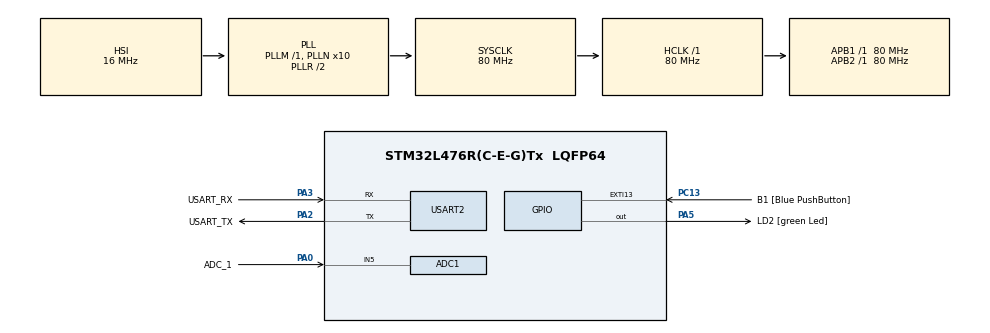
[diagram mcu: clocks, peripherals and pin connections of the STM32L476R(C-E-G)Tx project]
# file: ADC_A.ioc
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ADC1.Channel-1\#ChannelRegularConversion=ADC_CHANNEL_5
ADC1.ClockPrescaler=ADC_CLOCK_ASYNC_DIV8
ADC1.ContinuousConvMode=ENABLE
ADC1.NbrOfConversionFlag=1
ADC1.OffsetNumber-1\#ChannelRegularConversion=ADC_OFFSET_NONE
ADC1.Rank-1\#ChannelRegularConversion=1
ADC1.Resolution=ADC_RESOLUTION_12B
ADC1.SamplingTime-1\#ChannelRegularConversion=ADC_SAMPLETIME_2CYCLES_5
ADC1.master=1
Mcu.Family=STM32L4
Mcu.Name=STM32L476R(C-E-G)Tx
Mcu.Package=LQFP64
NVIC.ADC1_2_IRQn=true\:0\:0\:false\:false\:true\:true\:true\:true
NVIC.PriorityGroup=NVIC_PRIORITYGROUP_4
PA0.GPIO_Label=ADC_1
PA0.Signal=ADCx_IN5
PA13\ (JTMS-SWDIO).GPIO_Label=TMS
PA13\ (JTMS-SWDIO).Mode=Serial_Wire
PA13\ (JTMS-SWDIO).Signal=SYS_JTMS-SWDIO
PA14\ (JTCK-SWCLK).GPIO_Label=TCK
PA14\ (JTCK-SWCLK).Mode=Serial_Wire
PA14\ (JTCK-SWCLK).Signal=SYS_JTCK-SWCLK
PA2.GPIO_Label=USART_TX
PA2.GPIO_Mode=GPIO_MODE_AF_PP
PA2.GPIO_PuPd=GPIO_NOPULL
PA2.GPIO_Speed=GPIO_SPEED_FREQ_VERY_HIGH
PA2.Mode=Asynchronous
PA2.Signal=USART2_TX
PA3.GPIO_Label=USART_RX
PA3.GPIO_Mode=GPIO_MODE_AF_PP
PA3.GPIO_PuPd=GPIO_NOPULL
PA3.GPIO_Speed=GPIO_SPEED_FREQ_VERY_HIGH
PA3.Mode=Asynchronous
PA3.Signal=USART2_RX
PA5.GPIO_Label=LD2 [green Led]
PA5.GPIO_ModeDefaultOutputPP=GPIO_MODE_OUTPUT_PP
PA5.GPIO_PuPd=GPIO_NOPULL
PA5.GPIO_Speed=GPIO_SPEED_FREQ_LOW
PA5.Signal=GPIO_Output
PB3\ (JTDO-TRACESWO).GPIO_Label=SWO
PB3\ (JTDO-TRACESWO).Signal=SYS_JTDO-SWO
PC13.GPIO_Label=B1 [Blue PushButton]
PC13.GPIO_ModeDefaultEXTI=GPIO_MODE_IT_FALLING
PC13.GPIO_PuPd=GPIO_NOPULL
PC13.Signal=GPXTI13
PC14-OSC32_IN\ (PC14).Mode=LSE-External-Oscillator
PC14-OSC32_IN\ (PC14).Signal=RCC_OSC32_IN
PC15-OSC32_OUT\ (PC15).Mode=LSE-External-Oscillator
PC15-OSC32_OUT\ (PC15).Signal=RCC_OSC32_OUT
PH0-OSC_IN\ (PH0).Signal=RCC_OSC_IN
PH1-OSC_OUT\ (PH1).Signal=RCC_OSC_OUT
ProjectManager.HeapSize=0x200
ProjectManager.StackSize=0x400
ProjectManager.TargetToolchain=STM32CubeIDE
RCC.ADCFreq_Value=64000000
RCC.AHBFreq_Value=80000000
RCC.APB1Freq_Value=80000000
RCC.APB1TimFreq_Value=80000000
RCC.APB2Freq_Value=80000000
RCC.APB2TimFreq_Value=80000000
RCC.CortexFreq_Value=80000000
RCC.HCLKFreq_Value=80000000
RCC.HSE_VALUE=8000000
RCC.HSI_VALUE=16000000
RCC.MSI_VALUE=4000000
RCC.PLLN=10
RCC.PLLSourceVirtual=RCC_PLLSOURCE_HSI
RCC.PREFETCH_ENABLE=1
RCC.SYSCLKFreq_VALUE=80000000
RCC.SYSCLKSource=RCC_SYSCLKSOURCE_PLLCLK
RCC.USBFreq_Value=64000000
RCC.VCOOutputFreq_Value=160000000
SH.ADCx_IN5.0=ADC1_IN5,IN5-Single-Ended
USART2.VirtualMode-Asynchronous=VM_ASYNC
board=NUCLEO-L476RG

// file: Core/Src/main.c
/* USER CODE BEGIN Header */
/**
  ******************************************************************************
  * @file           : main.c
  * @brief          : Main program body
  ******************************************************************************
  * @attention
  *
  * Copyright (c) 2022 STMicroelectronics.
  * All rights reserved.
  *
  * This software is licensed under terms that can be found in the LICENSE file
  * in the root directory of this software component.
  * If no LICENSE file comes with this software, it is provided AS-IS.
  *
  ******************************************************************************
  */
/* USER CODE END Header */
#include "main.h"

/* USER CODE BEGIN Includes */
#include <stdio.h>
/* USER CODE END Includes */

 ADC_HandleTypeDef hadc1;

UART_HandleTypeDef huart2;

void SystemClock_Config(void);
static void MX_GPIO_Init(void);
static void MX_USART2_UART_Init(void);
static void MX_ADC1_Init(void);
/* USER CODE BEGIN PFP */
#define PUTCHAR_PROTOTYPE int __io_putchar(int ch)
/* USER CODE END PFP */

int main(void)
{

  /* MCU Configuration--------------------------------------------------------*/

  /* Reset of all peripherals, Initializes the Flash interface and the Systick. */
  HAL_Init();

  /* Configure the system clock */
  SystemClock_Config();

  /* Initialize all configured peripherals */
  MX_GPIO_Init();
  MX_USART2_UART_Init();
  MX_ADC1_Init();
  /* USER CODE BEGIN 2 */
  HAL_NVIC_EnableIRQ(ADC1_2_IRQn);
  HAL_ADC_Start(&hadc1);

  uint32_t value = 0;
  /* USER CODE END 2 */

  /* Infinite loop */
  while (1)
  {

    /* USER CODE BEGIN 3 */

	// Wait for conversion to end
	HAL_StatusTypeDef result = HAL_ADC_PollForConversion(&hadc1, 1000);
	// Read the converted value
	uint32_t valueRaded =  HAL_ADC_GetValue(&hadc1);
	if(valueRaded != value)
	{
		value = valueRaded;
		printf("%d \n\r",value);
	}
	HAL_ADC_Stop(&hadc1);
	HAL_ADC_Start(&hadc1);
  }
  /* USER CODE END 3 */
}

void SystemClock_Config(void)
{
  RCC_OscInitTypeDef RCC_OscInitStruct = {0};
  RCC_ClkInitTypeDef RCC_ClkInitStruct = {0};

  /** Configure the main internal regulator output voltage
  */
  if (HAL_PWREx_ControlVoltageScaling(PWR_REGULATOR_VOLTAGE_SCALE1) != HAL_OK)
  {
    Error_Handler();
  }

  /** Initializes the RCC Oscillators according to the specified parameters
  * in the RCC_OscInitTypeDef structure.
  */
  RCC_OscInitStruct.OscillatorType = RCC_OSCILLATORTYPE_HSI;
  RCC_OscInitStruct.HSIState = RCC_HSI_ON;
  RCC_OscInitStruct.HSICalibrationValue = RCC_HSICALIBRATION_DEFAULT;
  RCC_OscInitStruct.PLL.PLLState = RCC_PLL_ON;
  RCC_OscInitStruct.PLL.PLLSource = RCC_PLLSOURCE_HSI;
  RCC_OscInitStruct.PLL.PLLM = 1;
  RCC_OscInitStruct.PLL.PLLN = 10;
  RCC_OscInitStruct.PLL.PLLP = RCC_PLLP_DIV7;
  RCC_OscInitStruct.PLL.PLLQ = RCC_PLLQ_DIV2;
  RCC_OscInitStruct.PLL.PLLR = RCC_PLLR_DIV2;
  if (HAL_RCC_OscConfig(&RCC_OscInitStruct) != HAL_OK)
  {
    Error_Handler();
  }

  /** Initializes the CPU, AHB and APB buses clocks
  */
  RCC_ClkInitStruct.ClockType = RCC_CLOCKTYPE_HCLK|RCC_CLOCKTYPE_SYSCLK
                              |RCC_CLOCKTYPE_PCLK1|RCC_CLOCKTYPE_PCLK2;
  RCC_ClkInitStruct.SYSCLKSource = RCC_SYSCLKSOURCE_PLLCLK;
  RCC_ClkInitStruct.AHBCLKDivider = RCC_SYSCLK_DIV1;
  RCC_ClkInitStruct.APB1CLKDivider = RCC_HCLK_DIV1;
  RCC_ClkInitStruct.APB2CLKDivider = RCC_HCLK_DIV1;

  if (HAL_RCC_ClockConfig(&RCC_ClkInitStruct, FLASH_LATENCY_4) != HAL_OK)
  {
    Error_Handler();
  }
}

static void MX_ADC1_Init(void)
{

  ADC_MultiModeTypeDef multimode = {0};
  ADC_ChannelConfTypeDef sConfig = {0};

  /** Common config
  */
  hadc1.Instance = ADC1;
  hadc1.Init.ClockPrescaler = ADC_CLOCK_ASYNC_DIV8;
  hadc1.Init.Resolution = ADC_RESOLUTION_12B;
  hadc1.Init.DataAlign = ADC_DATAALIGN_RIGHT;
  hadc1.Init.ScanConvMode = ADC_SCAN_DISABLE;
  hadc1.Init.EOCSelection = ADC_EOC_SINGLE_CONV;
  hadc1.Init.LowPowerAutoWait = DISABLE;
  hadc1.Init.ContinuousConvMode = ENABLE;
  hadc1.Init.NbrOfConversion = 1;
  hadc1.Init.DiscontinuousConvMode = DISABLE;
  hadc1.Init.ExternalTrigConv = ADC_SOFTWARE_START;
  hadc1.Init.ExternalTrigConvEdge = ADC_EXTERNALTRIGCONVEDGE_NONE;
  hadc1.Init.DMAContinuousRequests = DISABLE;
  hadc1.Init.Overrun = ADC_OVR_DATA_PRESERVED;
  hadc1.Init.OversamplingMode = DISABLE;
  if (HAL_ADC_Init(&hadc1) != HAL_OK)
  {
    Error_Handler();
  }

  /** Configure the ADC multi-mode
  */
  multimode.Mode = ADC_MODE_INDEPENDENT;
  if (HAL_ADCEx_MultiModeConfigChannel(&hadc1, &multimode) != HAL_OK)
  {
    Error_Handler();
  }

  /** Configure Regular Channel
  */
  sConfig.Channel = ADC_CHANNEL_5;
  sConfig.Rank = ADC_REGULAR_RANK_1;
  sConfig.SamplingTime = ADC_SAMPLETIME_2CYCLES_5;
  sConfig.SingleDiff = ADC_SINGLE_ENDED;
  sConfig.OffsetNumber = ADC_OFFSET_NONE;
  sConfig.Offset = 0;
  if (HAL_ADC_ConfigChannel(&hadc1, &sConfig) != HAL_OK)
  {
    Error_Handler();
  }

}

static void MX_USART2_UART_Init(void)
{

  huart2.Instance = USART2;
  huart2.Init.BaudRate = 115200;
  huart2.Init.WordLength = UART_WORDLENGTH_8B;
  huart2.Init.StopBits = UART_STOPBITS_1;
  huart2.Init.Parity = UART_PARITY_NONE;
  huart2.Init.Mode = UART_MODE_TX_RX;
  huart2.Init.HwFlowCtl = UART_HWCONTROL_NONE;
  huart2.Init.OverSampling = UART_OVERSAMPLING_16;
  huart2.Init.OneBitSampling = UART_ONE_BIT_SAMPLE_DISABLE;
  huart2.AdvancedInit.AdvFeatureInit = UART_ADVFEATURE_NO_INIT;
  if (HAL_UART_Init(&huart2) != HAL_OK)
  {
    Error_Handler();
  }

}

static void MX_GPIO_Init(void)
{
  GPIO_InitTypeDef GPIO_InitStruct = {0};

  /* GPIO Ports Clock Enable */
  __HAL_RCC_GPIOC_CLK_ENABLE();
  __HAL_RCC_GPIOH_CLK_ENABLE();
  __HAL_RCC_GPIOA_CLK_ENABLE();
  __HAL_RCC_GPIOB_CLK_ENABLE();

  /*Configure GPIO pin Output Level */
  HAL_GPIO_WritePin(LD2_GPIO_Port, LD2_Pin, GPIO_PIN_RESET);

  /*Configure GPIO pin : B1_Pin */
  GPIO_InitStruct.Pin = B1_Pin;
  GPIO_InitStruct.Mode = GPIO_MODE_IT_FALLING;
  GPIO_InitStruct.Pull = GPIO_NOPULL;
  HAL_GPIO_Init(B1_GPIO_Port, &GPIO_InitStruct);

  /*Configure GPIO pin : LD2_Pin */
  GPIO_InitStruct.Pin = LD2_Pin;
  GPIO_InitStruct.Mode = GPIO_MODE_OUTPUT_PP;
  GPIO_InitStruct.Pull = GPIO_NOPULL;
  GPIO_InitStruct.Speed = GPIO_SPEED_FREQ_LOW;
  HAL_GPIO_Init(LD2_GPIO_Port, &GPIO_InitStruct);

}

/* USER CODE BEGIN 4 */
	PUTCHAR_PROTOTYPE
	{
	  /* Place your implementation of fputc here */
	  /* e.g. write a character to the USART1 and Loop until the end of transmission */
	  HAL_UART_Transmit(&huart2, (uint8_t *)&ch, 1, 0xFFFF);

	  return ch;
	}

/* USER CODE END 4 */

void Error_Handler(void)
{
  __disable_irq();
  while (1)
  {
  }
}
